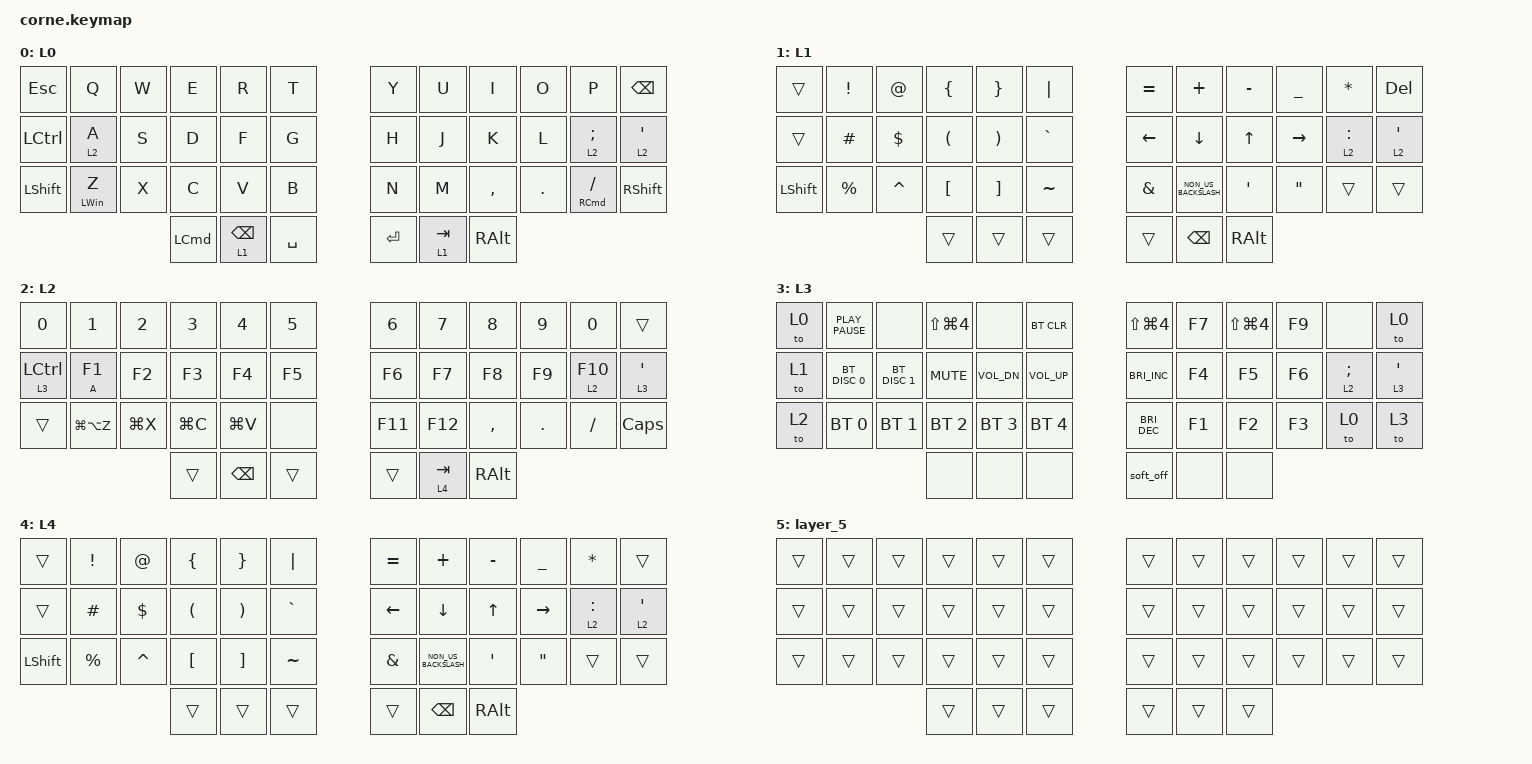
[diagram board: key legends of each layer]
#include <behaviors.dtsi>
#include <dt-bindings/zmk/bt.h>
#include <dt-bindings/zmk/keys.h>

&led_strip {
    chain-length = <0>;

    // chain-length = <27>;
    // 21 backlight + 6 glowlight
};

#define TAPPING_TERM 200

/ {
    behaviors {
        /*
    * td_lock groups locking functions into one key:
    *  - tap once to lock the host
    *  - tap twice to put the host to sleep
    */
    };

    combos { compatible = "zmk,combos"; };

    keymap {
        compatible = "zmk,keymap";

        base_layer {
            label = "L0";
            bindings = <
&kp ESC           &kp Q           &kp W  &kp E             &kp R            &kp T        &kp Y      &kp U      &kp I          &kp O    &kp P                    &kp BACKSPACE
&kp LEFT_CONTROL  &lt 2 A         &kp S  &kp D             &kp F            &kp G        &kp H      &kp J      &kp K          &kp L    &lt 2 SEMICOLON          &lt 2 SQT
&kp LEFT_SHIFT    &mt LEFT_WIN Z  &kp X  &kp C             &kp V            &kp B        &kp N      &kp M      &kp COMMA      &kp DOT  &mt RIGHT_COMMAND SLASH  &kp RIGHT_SHIFT
                                         &kp LEFT_COMMAND  &lt 1 BACKSPACE  &kp SPACE    &kp ENTER  &lt 1 TAB  &kp RIGHT_ALT
            >;
        };

        symbols_nav_layer {
            label = "L1";
            bindings = <
&trans          &kp EXCLAMATION  &kp AT_SIGN  &kp LBRC              &kp RIGHT_BRACE        &kp PIPE     &kp EQUAL      &kp PLUS              &kp MINUS      &kp UNDERSCORE     &kp ASTERISK  &kp DEL
&trans          &kp HASH         &kp DOLLAR   &kp LEFT_PARENTHESIS  &kp RIGHT_PARENTHESIS  &kp GRAVE    &kp LEFT       &kp DOWN_ARROW        &kp UP_ARROW   &kp RIGHT_ARROW    &lt 2 COLON   &lt 2 SQT
&kp LEFT_SHIFT  &kp PERCENT      &kp CARET    &kp LEFT_BRACKET      &kp RIGHT_BRACKET      &kp TILDE    &kp AMPERSAND  &kp NON_US_BACKSLASH  &kp SQT        &kp DOUBLE_QUOTES  &trans        &trans
                                              &trans                &trans                 &trans       &trans         &kp BACKSPACE         &kp RIGHT_ALT
            >;
        };

        nums_shortcuts_layer {
            label = "L2";
            bindings = <
&kp N0              &kp NUMBER_1   &kp NUMBER_2  &kp NUMBER_3  &kp NUMBER_4   &kp NUMBER_5    &kp NUMBER_6  &kp N7     &kp N8         &kp N9      &kp N0     &trans
&lt 3 LEFT_CONTROL  &mt A F1       &kp F2        &kp F3        &kp F4         &kp F5          &kp F6        &kp F7     &kp F8         &kp F9      &lt 2 F10  &lt 3 SQT
&trans              &kp LG(LA(Z))  &kp LG(X)     &kp LG(C)     &kp LG(V)      &none           &kp F11       &kp F12    &kp COMMA      &kp PERIOD  &kp SLASH  &kp CAPSLOCK
                                                 &trans        &kp BACKSPACE  &trans          &trans        &lt 4 TAB  &kp RIGHT_ALT
            >;
        };

        extended_layer {
            label = "L3";
            bindings = <
&to 0  &kp K_PLAY_PAUSE  &none          &kp LS(LG(NUMBER_4))  &none         &bt BT_CLR      &kp LS(LG(NUMBER_4))  &kp F7  &kp LS(LG(NUMBER_4))  &kp F9  &none            &to 0
&to 1  &bt BT_DISC 0     &bt BT_DISC 1  &kp K_MUTE            &kp C_VOL_DN  &kp C_VOL_UP    &kp C_BRIGHTNESS_INC  &kp F4  &kp F5                &kp F6  &lt 2 SEMICOLON  &lt 3 SQT
&to 2  &bt BT_SEL 0      &bt BT_SEL 1   &bt BT_SEL 2          &bt BT_SEL 3  &bt BT_SEL 4    &kp C_BRIGHTNESS_DEC  &kp F1  &kp F2                &kp F3  &to 0            &to 3
                                        &none                 &none         &none           &soft_off             &none   &none
            >;
        };

        layer_4 {
            label = "L4";
            bindings = <
&trans          &kp EXCLAMATION  &kp AT_SIGN  &kp LBRC              &kp RIGHT_BRACE        &kp PIPE     &kp EQUAL      &kp PLUS              &kp MINUS      &kp UNDERSCORE     &kp ASTERISK  &trans
&trans          &kp HASH         &kp DOLLAR   &kp LEFT_PARENTHESIS  &kp RIGHT_PARENTHESIS  &kp GRAVE    &kp LEFT       &kp DOWN_ARROW        &kp UP_ARROW   &kp RIGHT_ARROW    &lt 2 COLON   &lt 2 SQT
&kp LEFT_SHIFT  &kp PERCENT      &kp CARET    &kp LEFT_BRACKET      &kp RIGHT_BRACKET      &kp TILDE    &kp AMPERSAND  &kp NON_US_BACKSLASH  &kp SQT        &kp DOUBLE_QUOTES  &trans        &trans
                                              &trans                &trans                 &trans       &trans         &kp BACKSPACE         &kp RIGHT_ALT
            >;
        };

        layer_5 {
            bindings = <
&trans  &trans  &trans  &trans  &trans  &trans    &trans  &trans  &trans  &trans  &trans  &trans
&trans  &trans  &trans  &trans  &trans  &trans    &trans  &trans  &trans  &trans  &trans  &trans
&trans  &trans  &trans  &trans  &trans  &trans    &trans  &trans  &trans  &trans  &trans  &trans
                        &trans  &trans  &trans    &trans  &trans  &trans
            >;
        };
    };

    conditional_layers { compatible = "zmk,conditional-layers"; };
};
